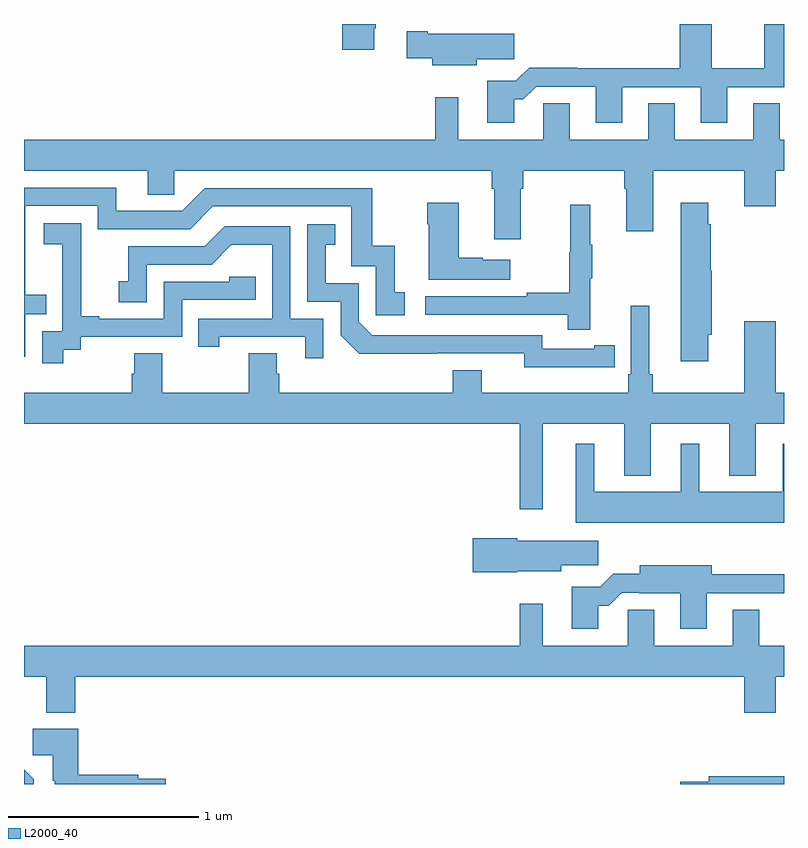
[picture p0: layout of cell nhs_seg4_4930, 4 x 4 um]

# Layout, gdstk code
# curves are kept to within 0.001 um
import gdstk
lib = gdstk.Library(unit=1e-6, precision=1e-09)
def P(c, l, *ps):  # polygons
    for p in ps: c.add(gdstk.Polygon(p, *l))
L2000_40 = (2000, 40)

nhs_seg4_4930 = lib.new_cell('nhs_seg4_4930')
P(nhs_seg4_4930, L2000_40, [(378.844,822.877),(378.852,822.877),(378.852,822.9),(378.674,822.9),(378.674,822.765),(378.844,822.765)],
  [(379.579,822.503),(379.628,822.503),(379.695,822.57),(380.009,822.57),(380.009,822.381),(380.149,822.381),(380.149,822.567),(380.561,822.567),(380.561,822.381),(380.701,822.381),(380.701,822.567),(381,822.567),(381,822.9),(380.897,822.9),(380.897,822.668),(380.62,822.668),(380.62,822.9),(380.45,822.9),(380.45,822.668),(379.913,822.668),(379.913,822.671),(379.658,822.671),(379.588,822.601),(379.439,822.601),(379.439,822.381),(379.579,822.381)],
  [(379.384,822.715),(379.579,822.715),(379.579,822.85),(379.126,822.85),(379.126,822.863),(379.014,822.863),(379.014,822.721),(379.148,822.721),(379.148,822.683),(379.384,822.683)],
  [(379.615,822.032),(379.628,822.032),(379.628,822.128),(380.159,822.128),(380.159,822.032),(380.171,822.032),(380.171,821.808),(380.311,821.808),(380.311,822.128),(380.792,822.128),(380.792,821.94),(380.956,821.94),(380.956,822.128),(381,822.128),(381,822.292),(380.977,822.292),(380.977,822.482),(380.837,822.482),(380.837,822.292),(380.425,822.292),(380.425,822.482),(380.285,822.482),(380.285,822.292),(379.873,822.292),(379.873,822.482),(379.734,822.482),(379.734,822.292),(379.285,822.292),(379.285,822.514),(379.164,822.514),(379.164,822.292),(377,822.292),(377,822.128),(377.651,822.128),(377.651,822.001),(377.79,822.001),(377.79,822.128),(379.463,822.128),(379.463,822.032),(379.475,822.032),(379.475,821.766),(379.615,821.766)],
  [(377.007,821.373),(377.117,821.373),(377.117,821.474),(377.007,821.474),(377.007,821.943),(377.388,821.943),(377.388,821.82),(377.874,821.82),(377.994,821.94),(378.723,821.94),(378.723,821.625),(378.852,821.625),(378.852,821.367),(379.003,821.367),(379.003,821.487),(378.95,821.487),(378.95,821.734),(378.832,821.734),(378.832,822.036),(377.952,822.036),(377.832,821.916),(377.485,821.916),(377.485,822.039),(377,822.039),(377,821.148),(377.007,821.148)],
  [(380.602,821.265),(380.62,821.265),(380.62,821.601),(380.615,821.601),(380.615,821.846),(380.602,821.846),(380.602,821.959),(380.456,821.959),(380.456,821.124),(380.602,821.124)],
  [(379.558,821.659),(379.415,821.659),(379.415,821.669),(379.288,821.669),(379.288,821.959),(379.123,821.959),(379.123,821.846),(379.13,821.846),(379.13,821.555),(379.558,821.555)],
  [(379.979,821.563),(379.99,821.563),(379.99,821.737),(379.979,821.737),(379.979,821.95),(379.876,821.95),(379.876,821.7),(379.869,821.7),(379.869,821.486),(379.645,821.486),(379.645,821.466),(379.113,821.466),(379.113,821.37),(379.861,821.37),(379.861,821.292),(379.979,821.292)],
  [(377.206,821.185),(377.298,821.185),(377.298,821.253),(377.832,821.253),(377.832,821.448),(378.221,821.448),(378.221,821.571),(378.081,821.571),(378.081,821.544),(377.736,821.544),(377.736,821.349),(377.395,821.349),(377.395,821.362),(377.3,821.362),(377.3,821.645),(377.301,821.645),(377.301,821.851),(377.103,821.851),(377.103,821.741),(377.201,821.741),(377.201,821.513),(377.202,821.513),(377.202,821.283),(377.097,821.283),(377.097,821.115),(377.206,821.115)],
  [(380,821.094),(380.108,821.094),(380.108,821.21),(380,821.21),(380,821.19),(379.728,821.19),(379.728,821.262),(378.834,821.262),(378.762,821.334),(378.762,821.535),(378.589,821.535),(378.589,821.739),(378.638,821.739),(378.638,821.845),(378.492,821.845),(378.492,821.439),(378.666,821.439),(378.666,821.262),(378.764,821.165),(379.632,821.166),(379.632,821.093)],
  [(378.576,821.349),(378.402,821.349),(378.402,821.835),(378.056,821.835),(377.951,821.73),(377.548,821.73),(377.548,821.545),(377.499,821.545),(377.499,821.436),(377.646,821.436),(377.646,821.634),(377.988,821.634),(378.092,821.738),(378.306,821.738),(378.306,821.349),(377.917,821.349),(377.917,821.202),(378.028,821.202),(378.028,821.253),(378.479,821.253),(378.479,821.142),(378.576,821.142)],
  [(379.729,820.796),(380.159,820.796),(380.159,820.523),(380.299,820.523),(380.299,820.796),(380.711,820.796),(380.711,820.523),(380.851,820.523),(380.851,820.796),(381,820.796),(381,820.96),(380.956,820.96),(380.956,821.335),(380.792,821.335),(380.792,820.96),(380.309,820.96),(380.309,821.056),(380.29,821.056),(380.29,821.416),(380.193,821.416),(380.193,821.056),(380.18,821.056),(380.18,820.96),(379.408,820.96),(379.408,821.077),(379.256,821.077),(379.256,820.96),(378.344,820.96),(378.344,821.058),(378.331,821.058),(378.331,821.168),(378.184,821.168),(378.184,820.96),(377.727,820.96),(377.727,821.168),(377.579,821.168),(377.579,821.058),(377.567,821.058),(377.567,820.96),(377,820.96),(377,820.796),(379.608,820.796),(379.608,820.347),(379.729,820.347)],
  [(381,820.69),(380.993,820.69),(380.993,820.438),(380.554,820.438),(380.554,820.69),(380.456,820.69),(380.456,820.438),(380.002,820.438),(380.002,820.69),(379.904,820.69),(379.904,820.274),(381,820.274)],
  [(379.596,820.019),(379.828,820.019),(379.828,820.051),(380.023,820.051),(380.023,820.18),(379.596,820.18),(379.596,820.193),(379.362,820.193),(379.362,820.015),(379.596,820.015)],
  [(380.023,819.839),(380.078,819.839),(380.145,819.906),(380.239,819.906),(380.239,819.903),(380.453,819.903),(380.453,819.717),(380.593,819.717),(380.593,819.903),(381,819.903),(381,820.004),(380.62,820.004),(380.62,820.051),(380.24,820.051),(380.24,820.007),(380.102,820.007),(380.032,819.937),(379.883,819.937),(379.883,819.717),(380.023,819.717)],
  [(377.27,819.464),(380.792,819.464),(380.792,819.276),(380.956,819.276),(380.956,819.464),(381,819.464),(381,819.628),(380.869,819.628),(380.869,819.818),(380.729,819.818),(380.729,819.628),(380.317,819.628),(380.317,819.818),(380.178,819.818),(380.178,819.628),(379.729,819.628),(379.729,819.85),(379.608,819.85),(379.608,819.628),(377,819.628),(377,819.464),(377.117,819.464),(377.117,819.275),(377.27,819.275)],
  [(377.747,818.928),(377.6,818.928),(377.6,818.948),(377.285,818.948),(377.285,819.19),(377.045,819.19),(377.045,819.052),(377.15,819.052),(377.15,818.916),(377.162,818.916),(377.162,818.9),(377.747,818.9)],
  [(377.05,818.926),(377,818.976),(377,818.9),(377.05,818.9)],
  [(381,818.941),(380.603,818.941),(380.603,818.912),(380.454,818.912),(380.454,818.9),(381,818.9)])

lib.write_gds('nhs_seg4_4930.gds')
